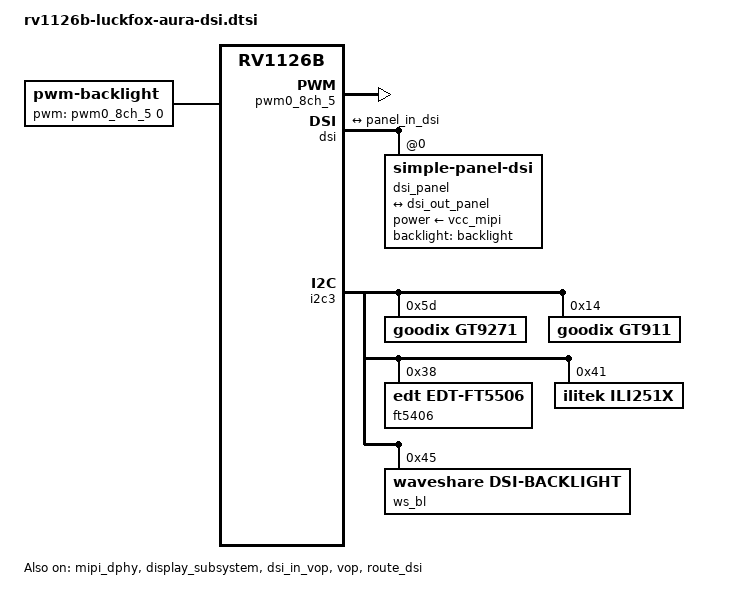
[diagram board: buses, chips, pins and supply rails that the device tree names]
#include <dt-bindings/display/drm_mipi_dsi.h>

/ {
	backlight: backlight {
		compatible = "pwm-backlight";
		pwms = <&pwm0_8ch_5 0 25000 0>;
		brightness-levels = <
			  0  20  20  21  21  22  22  23
			 23  24  24  25  25  26  26  27
			 27  28  28  29  29  30  30  31
			 31  32  32  33  33  34  34  35
			 35  36  36  37  37  38  38  39
			 40  41  42  43  44  45  46  47
			 48  49  50  51  52  53  54  55
			 56  57  58  59  60  61  62  63
			 64  65  66  67  68  69  70  71
			 72  73  74  75  76  77  78  79
			 80  81  82  83  84  85  86  87
			 88  89  90  91  92  93  94  95
			 96  97  98  99 100 101 102 103
			104 105 106 107 108 109 110 111
			112 113 114 115 116 117 118 119
			120 121 122 123 124 125 126 127
			128 129 130 131 132 133 134 135
			136 137 138 139 140 141 142 143
			144 145 146 147 148 149 150 151
			152 153 154 155 156 157 158 159
			160 161 162 163 164 165 166 167
			168 169 170 171 172 173 174 175
			176 177 178 179 180 181 182 183
			184 185 186 187 188 189 190 191
			192 193 194 195 196 197 198 199
			200 201 202 203 204 205 206 207
			208 209 210 211 212 213 214 215
			216 217 218 219 220 221 222 223
			224 225 226 227 228 229 230 231
			232 233 234 235 236 237 238 239
			240 241 242 243 244 245 246 247
			248 249 250 251 252 253 254 255
		>;
		default-brightness-level = <200>;
	};
};

/**********DISPLAY**********/
&mipi_dphy {
	status = "okay";
};

&pwm0_8ch_5 {
	pinctrl-0 = <&pwm0m1_ch5_pins>;
	status = "okay";
};

&display_subsystem {
	status = "okay";
};

&dsi {
	status = "okay";
	dsi_panel: panel@0 {
		status = "okay";
		compatible = "simple-panel-dsi";
		reg = <0>;
		backlight = <&backlight>;
		reset-delay-ms = <10>;
		enable-delay-ms = <10>;
		prepare-delay-ms = <10>;
		unprepare-delay-ms = <10>;
		disable-delay-ms = <60>;
		dsi,flags = <(MIPI_DSI_MODE_VIDEO | MIPI_DSI_MODE_VIDEO_BURST |
			MIPI_DSI_MODE_LPM | MIPI_DSI_MODE_NO_EOT_PACKET)>;
		//dsi,flags = <(MIPI_DSI_MODE_VIDEO | MIPI_DSI_MODE_LPM)>; // 13.3inch dsi lcd
		dsi,format = <MIPI_DSI_FMT_RGB888>;
		dsi,lanes  = <4>;

		// 10inch1
		width-mm = <216>;
		height-mm = <135>;


		panel-init-sequence = [
			15 00 02 E0 00
			15 00 02 E1 93
			15 00 02 E2 65
			15 00 02 E3 F8
			15 00 02 80 03
			15 00 02 E0 01
			15 00 02 00 00
			15 00 02 01 3B
			15 00 02 0C 74
			15 00 02 17 00
			15 00 02 18 AF
			15 00 02 19 00
			15 00 02 1A 00
			15 00 02 1B AF
			15 00 02 1C 00
			15 00 02 35 26
			15 00 02 37 09
			15 00 02 38 04
			15 00 02 39 00
			15 00 02 3A 01
			15 00 02 3C 78
			15 00 02 3D FF
			15 00 02 3E FF
			15 00 02 3F 7F
			15 00 02 40 06
			15 00 02 41 A0
			15 00 02 42 81
			15 00 02 43 14
			15 00 02 44 23
			15 00 02 45 28
			15 00 02 55 02
			15 00 02 57 69
			15 00 02 59 0A
			15 00 02 5A 2A
			15 00 02 5B 17
			15 00 02 5D 7F
			15 00 02 5E 6B
			15 00 02 5F 5C
			15 00 02 60 4F
			15 00 02 61 4D
			15 00 02 62 3F
			15 00 02 63 42
			15 00 02 64 2B
			15 00 02 65 44
			15 00 02 66 43
			15 00 02 67 43
			15 00 02 68 63
			15 00 02 69 52
			15 00 02 6A 5A
			15 00 02 6B 4F
			15 00 02 6C 4E
			15 00 02 6D 20
			15 00 02 6E 0F
			15 00 02 6F 00
			15 00 02 70 7F
			15 00 02 71 6B
			15 00 02 72 5C
			15 00 02 73 4F
			15 00 02 74 4D
			15 00 02 75 3F
			15 00 02 76 42
			15 00 02 77 2B
			15 00 02 78 44
			15 00 02 79 43
			15 00 02 7A 43
			15 00 02 7B 63
			15 00 02 7C 52
			15 00 02 7D 5A
			15 00 02 7E 4F
			15 00 02 7F 4E
			15 00 02 80 20
			15 00 02 81 0F
			15 00 02 82 00
			15 00 02 E0 02
			15 00 02 00 02
			15 00 02 01 02
			15 00 02 02 00
			15 00 02 03 00
			15 00 02 04 1E
			15 00 02 05 1E
			15 00 02 06 1F
			15 00 02 07 1F
			15 00 02 08 1F
			15 00 02 09 17
			15 00 02 0A 17
			15 00 02 0B 37
			15 00 02 0C 37
			15 00 02 0D 47
			15 00 02 0E 47
			15 00 02 0F 45
			15 00 02 10 45
			15 00 02 11 4B
			15 00 02 12 4B
			15 00 02 13 49
			15 00 02 14 49
			15 00 02 15 1F
			15 00 02 16 01
			15 00 02 17 01
			15 00 02 18 00
			15 00 02 19 00
			15 00 02 1A 1E
			15 00 02 1B 1E
			15 00 02 1C 1F
			15 00 02 1D 1F
			15 00 02 1E 1F
			15 00 02 1F 17
			15 00 02 20 17
			15 00 02 21 37
			15 00 02 22 37
			15 00 02 23 46
			15 00 02 24 46
			15 00 02 25 44
			15 00 02 26 44
			15 00 02 27 4A
			15 00 02 28 4A
			15 00 02 29 48
			15 00 02 2A 48
			15 00 02 2B 1F
			15 00 02 2C 01
			15 00 02 2D 01
			15 00 02 2E 00
			15 00 02 2F 00
			15 00 02 30 1F
			15 00 02 31 1F
			15 00 02 32 1E
			15 00 02 33 1E
			15 00 02 34 1F
			15 00 02 35 17
			15 00 02 36 17
			15 00 02 37 37
			15 00 02 38 37
			15 00 02 39 08
			15 00 02 3A 08
			15 00 02 3B 0A
			15 00 02 3C 0A
			15 00 02 3D 04
			15 00 02 3E 04
			15 00 02 3F 06
			15 00 02 40 06
			15 00 02 41 1F
			15 00 02 42 02
			15 00 02 43 02
			15 00 02 44 00
			15 00 02 45 00
			15 00 02 46 1F
			15 00 02 47 1F
			15 00 02 48 1E
			15 00 02 49 1E
			15 00 02 4A 1F
			15 00 02 4B 17
			15 00 02 4C 17
			15 00 02 4D 37
			15 00 02 4E 37
			15 00 02 4F 09
			15 00 02 50 09
			15 00 02 51 0B
			15 00 02 52 0B
			15 00 02 53 05
			15 00 02 54 05
			15 00 02 55 07
			15 00 02 56 07
			15 00 02 57 1F
			15 00 02 58 40
			15 00 02 5B 30
			15 00 02 5C 16
			15 00 02 5D 34
			15 00 02 5E 05
			15 00 02 5F 02
			15 00 02 63 00
			15 00 02 64 6A
			15 00 02 67 73
			15 00 02 68 1D
			15 00 02 69 08
			15 00 02 6A 6A
			15 00 02 6B 08
			15 00 02 6C 00
			15 00 02 6D 00
			15 00 02 6E 00
			15 00 02 6F 88
			15 00 02 75 FF
			15 00 02 77 DD
			15 00 02 78 3F
			15 00 02 79 15
			15 00 02 7A 17
			15 00 02 7D 14
			15 00 02 7E 82
			15 00 02 E0 04
			15 00 02 00 0E
			15 00 02 02 B3
			15 00 02 09 61
			15 00 02 0E 48
			15 00 02 E0 00
			15 00 02 E6 02
			15 00 02 E7 0C
			05 78 01 11
			05 14 01 29
		];

		panel-exit-sequence = [
			05 00 01 28
			05 00 01 10
		];

		// 9inch-b / 10inch-b
		/*
		panel-init-sequence = [
			15 00 02 E0 00
			15 00 02 E1 93
			15 00 02 E2 65
			15 00 02 E3 F8
			15 00 02 80 01
			15 00 02 E0 01
			15 00 02 00 00
			15 00 02 01 3D
			15 00 02 03 10
			15 00 02 04 3F
			15 00 02 17 00
			15 00 02 18 BF
			15 00 02 19 01
			15 00 02 1A 00
			15 00 02 1B BF
			15 00 02 1C 01
			15 00 02 24 FE
			15 00 02 37 19
			15 00 02 38 05
			15 00 02 39 08
			15 00 02 3A 1F
			15 00 02 3C 74
			15 00 02 3D FF
			15 00 02 3E FF
			15 00 02 3F FF
			15 00 02 40 04
			15 00 02 41 A0
			15 00 02 42 7E
			15 00 02 43 1A
			15 00 02 44 0F
			15 00 02 45 24
			15 00 02 55 02
			15 00 02 57 A9
			15 00 02 59 0A
			15 00 02 5A 38
			15 00 02 5B 1A
			15 00 02 5D 7F
			15 00 02 5E 65
			15 00 02 5F 52
			15 00 02 60 44
			15 00 02 61 3D
			15 00 02 62 2D
			15 00 02 63 2D
			15 00 02 64 14
			15 00 02 65 28
			15 00 02 66 25
			15 00 02 67 23
			15 00 02 68 3F
			15 00 02 69 2D
			15 00 02 6A 34
			15 00 02 6B 27
			15 00 02 6C 24
			15 00 02 6D 18
			15 00 02 6E 0A
			15 00 02 6F 00
			15 00 02 70 7F
			15 00 02 71 65
			15 00 02 72 52
			15 00 02 73 44
			15 00 02 74 3D
			15 00 02 75 2D
			15 00 02 76 2D
			15 00 02 77 14
			15 00 02 78 28
			15 00 02 79 25
			15 00 02 7A 23
			15 00 02 7B 3F
			15 00 02 7C 2D
			15 00 02 7D 34
			15 00 02 7E 27
			15 00 02 7F 24
			15 00 02 80 18
			15 00 02 81 0A
			15 00 02 82 00
			15 00 02 E0 02
			15 00 02 00 51
			15 00 02 01 55
			15 00 02 02 50
			15 00 02 03 51
			15 00 02 04 5F
			15 00 02 05 77
			15 00 02 06 57
			15 00 02 07 5F
			15 00 02 08 47
			15 00 02 09 46
			15 00 02 0A 45
			15 00 02 0B 44
			15 00 02 0C 4B
			15 00 02 0D 4A
			15 00 02 0E 49
			15 00 02 0F 48
			15 00 02 10 40
			15 00 02 11 41
			15 00 02 12 5F
			15 00 02 13 5F
			15 00 02 14 5F
			15 00 02 15 5F
			15 00 02 16 51
			15 00 02 17 55
			15 00 02 18 50
			15 00 02 19 51
			15 00 02 1A 5F
			15 00 02 1B 77
			15 00 02 1C 57
			15 00 02 1D 5F
			15 00 02 1E 47
			15 00 02 1F 46
			15 00 02 20 45
			15 00 02 21 44
			15 00 02 22 4B
			15 00 02 23 4A
			15 00 02 24 49
			15 00 02 25 48
			15 00 02 26 40
			15 00 02 27 41
			15 00 02 28 5F
			15 00 02 29 5F
			15 00 02 2A 5F
			15 00 02 2B 5F
			15 00 02 2C 11
			15 00 02 2D 1F
			15 00 02 2E 01
			15 00 02 2F 00
			15 00 02 30 15
			15 00 02 31 17
			15 00 02 32 17
			15 00 02 33 1F
			15 00 02 34 08
			15 00 02 35 09
			15 00 02 36 0A
			15 00 02 37 0B
			15 00 02 38 04
			15 00 02 39 05
			15 00 02 3A 06
			15 00 02 3B 07
			15 00 02 3C 11
			15 00 02 3D 10
			15 00 02 3E 1F
			15 00 02 3F 1F
			15 00 02 40 1F
			15 00 02 41 1F
			15 00 02 42 11
			15 00 02 43 1F
			15 00 02 44 01
			15 00 02 45 00
			15 00 02 46 15
			15 00 02 47 17
			15 00 02 48 17
			15 00 02 49 1F
			15 00 02 4A 08
			15 00 02 4B 09
			15 00 02 4C 0A
			15 00 02 4D 0B
			15 00 02 4E 04
			15 00 02 4F 05
			15 00 02 50 06
			15 00 02 51 07
			15 00 02 52 11
			15 00 02 53 10
			15 00 02 54 1F
			15 00 02 55 1F
			15 00 02 56 1F
			15 00 02 57 1F
			15 00 02 58 40
			15 00 02 5B 10
			15 00 02 5C 07
			15 00 02 5D 40
			15 00 02 5E 01
			15 00 02 5F 02
			15 00 02 60 40
			15 00 02 61 01
			15 00 02 62 02
			15 00 02 63 06
			15 00 02 64 66
			15 00 02 65 55
			15 00 02 66 13
			15 00 02 67 73
			15 00 02 68 09
			15 00 02 69 06
			15 00 02 6A 66
			15 00 02 6B 08
			15 00 02 6C 00
			15 00 02 6D 04
			15 00 02 6E 04
			15 00 02 6F 88
			15 00 02 75 E3
			15 00 02 76 00
			15 00 02 77 D5
			15 00 02 78 2A
			15 00 02 79 21
			15 00 02 7A 00
			15 00 02 7D 06
			15 00 02 7E 66
			15 00 02 E0 04
			15 00 02 00 0E
			15 00 02 02 B3
			15 00 02 09 60
			15 00 02 0E 48
			15 00 02 37 58
			15 00 02 2B 0F
			15 00 02 E0 05
			15 00 02 15 1D
			15 00 02 E0 00
			05 78 01 11
			05 05 01 29
			05 00 01 35
		];
		*/

		// 7inch
		/*
		panel-init-sequence = [
			39 00 04 FF 98 81 03
			15 00 02 01 00
			15 00 02 02 00
			15 00 02 03 73
			15 00 02 04 00
			15 00 02 05 00
			15 00 02 06 0A
			15 00 02 07 00
			15 00 02 08 00
			15 00 02 09 61
			15 00 02 0A 00
			15 00 02 0B 00
			15 00 02 0C 01
			15 00 02 0D 00
			15 00 02 0E 00
			15 00 02 0F 61
			15 00 02 10 61
			15 00 02 11 00
			15 00 02 12 00
			15 00 02 13 00
			15 00 02 14 00
			15 00 02 15 00
			15 00 02 16 00
			15 00 02 17 00
			15 00 02 18 00
			15 00 02 19 00
			15 00 02 1A 00
			15 00 02 1B 00
			15 00 02 1C 00
			15 00 02 1D 00
			15 00 02 1E 40
			15 00 02 1F 80
			15 00 02 20 06
			15 00 02 21 01
			15 00 02 22 00
			15 00 02 23 00
			15 00 02 24 00
			15 00 02 25 00
			15 00 02 26 00
			15 00 02 27 00
			15 00 02 28 33
			15 00 02 29 03
			15 00 02 2A 00
			15 00 02 2B 00
			15 00 02 2C 00
			15 00 02 2D 00
			15 00 02 2E 00
			15 00 02 2F 00
			15 00 02 30 00
			15 00 02 31 00
			15 00 02 32 00
			15 00 02 33 00
			15 00 02 34 04
			15 00 02 35 00
			15 00 02 36 00
			15 00 02 37 00
			15 00 02 38 3C
			15 00 02 39 00
			15 00 02 3A 00
			15 00 02 3B 00
			15 00 02 3C 00
			15 00 02 3D 00
			15 00 02 3E 00
			15 00 02 3F 00
			15 00 02 40 00
			15 00 02 41 00
			15 00 02 42 00
			15 00 02 43 00
			15 00 02 44 00
			15 00 02 50 10
			15 00 02 51 32
			15 00 02 52 54
			15 00 02 53 76
			15 00 02 54 98
			15 00 02 55 BA
			15 00 02 56 10
			15 00 02 57 32
			15 00 02 58 54
			15 00 02 59 76
			15 00 02 5A 98
			15 00 02 5B BA
			15 00 02 5C DC
			15 00 02 5D FE
			15 00 02 5E 00
			15 00 02 5F 0E
			15 00 02 60 0F
			15 00 02 61 0C
			15 00 02 62 0D
			15 00 02 63 06
			15 00 02 64 07
			15 00 02 65 02
			15 00 02 66 02
			15 00 02 67 02
			15 00 02 68 02
			15 00 02 69 01
			15 00 02 6A 00
			15 00 02 6B 02
			15 00 02 6C 15
			15 00 02 6D 14
			15 00 02 6E 02
			15 00 02 6F 02
			15 00 02 70 02
			15 00 02 71 02
			15 00 02 72 02
			15 00 02 73 02
			15 00 02 74 02
			15 00 02 75 0E
			15 00 02 76 0F
			15 00 02 77 0C
			15 00 02 78 0D
			15 00 02 79 06
			15 00 02 7A 07
			15 00 02 7B 02
			15 00 02 7C 02
			15 00 02 7D 02
			15 00 02 7E 02
			15 00 02 7F 01
			15 00 02 80 00
			15 00 02 81 02
			15 00 02 82 14
			15 00 02 83 15
			15 00 02 84 02
			15 00 02 85 02
			15 00 02 86 02
			15 00 02 87 02
			15 00 02 88 02
			15 00 02 89 02
			15 00 02 8A 02
			39 00 04 FF 98 81 04
			15 00 02 6C 15
			15 00 02 6E 2A
			15 00 02 6F 33
			15 00 02 3B 98
			15 00 02 3A 94
			15 00 02 8D 14
			15 00 02 87 BA
			15 00 02 26 76
			15 00 02 B2 D1
			15 00 02 B5 06
			15 00 02 38 01
			15 00 02 39 00
			39 00 04 FF 98 81 01
			15 00 02 22 0A
			15 00 02 31 00
			15 00 02 53 7d
			15 00 02 55 8F
			15 00 02 40 33
			15 00 02 50 96
			15 00 02 51 96
			15 00 02 60 23
			15 00 02 A0 08
			15 00 02 A1 1D
			15 00 02 A2 2A
			15 00 02 A3 10
			15 00 02 A4 15
			15 00 02 A5 28
			15 00 02 A6 1C
			15 00 02 A7 1D
			15 00 02 A8 7E
			15 00 02 A9 1D
			15 00 02 AA 29
			15 00 02 AB 6B
			15 00 02 AC 1A
			15 00 02 AD 18
			15 00 02 AE 4B
			15 00 02 AF 20
			15 00 02 B0 27
			15 00 02 B1 50
			15 00 02 B2 64
			15 00 02 B3 39
			15 00 02 C0 08
			15 00 02 C1 1D
			15 00 02 C2 2A
			15 00 02 C3 10
			15 00 02 C4 15
			15 00 02 C5 28
			15 00 02 C6 1C
			15 00 02 C7 1D
			15 00 02 C8 7E
			15 00 02 C9 1D
			15 00 02 CA 29
			15 00 02 CB 6B
			15 00 02 CC 1A
			15 00 02 CD 18
			15 00 02 CE 4B
			15 00 02 CF 20
			15 00 02 D0 27
			15 00 02 D1 50
			15 00 02 D2 64
			15 00 02 D3 39
			39 00 04 FF 98 81 00
			15 00 02 35 00
			05 78 01 11
			05 14 01 29
		];

		panel-exit-sequence = [
			05 00 01 28
			05 00 01 10
		];
		*/

		// 5inch
		/*
		panel-init-sequence = [
			39 00 04 B9 FF 83 94
			39 00 0B B1 48 0A 6A 09 33 54 71 71 2E 45
			39 00 07 BA 61 03 68 6B B2 C0
			39 00 07 B2 00 80 64 0C 06 2F
			39 00 16 B4 1C 78 1C 78 1C 78 01 0C 86
				 75 00 3F 1C 78 1C 78 1C 78 01
				 0C 86
			39 00 22 D3 00 00 00 00 00 00 08 08 32
				 10 05 00 05 32 13 C1 00 01 32
				 10 08 00 00 37 03 07 07 37 05
				 05 37 0C 40
			39 00 2D D5 18 18 18 18 22 23 20 21 04
				 05 06 07 00 01 02 03 18 18 18
				 18 18 18 18 18 18 18 18 18 18
				 18 18 18 18 18 18 18 18 18 18
				 18 19 19 19 19
			39 00 2D D6 18 18 19 19 21 20 23 22 03
				 02 01 00 07 06 05 04 18 18 18
				 18 18 18 18 18 18 18 18 18 18
				 18 18 18 18 18 18 18 18 18 18
				 18 19 19 18 18
			39 00 3B E0 07 08 09 0D 10 14 16 13 24
				 36 48 4A 58 6F 76 80 97 A5 A8
				 B5 C6 62 63 68 6F 72 78 7F 7F
				 00 02 08 0D 0C 0E 0F 10 24 36
				 48 4A 58 6F 78 82 99 A4 A0 B1
				 C0 5E 5E 64 6B 6C 73 7F 7F
			15 00 02 CC 08
			39 00 03 C0 1F 73
			39 00 03 B6 6B 6B
			15 00 02 D4 02
			15 00 02 BD 01
			15 00 02 B1 00
			15 00 02 BD 00
			15 00 02 13 01
			15 00 02 20 01
			15 00 02 21 00
			15 00 02 36 08
			39 00 08 BF 40 81 50 00 1A FC 01
			05 C8 01 11
			39 00 0D B2 00 80 64 0C 06 2F 00 00 00 00 C0 18
			05 50 01 29
		];
		*/

		// for 800x480
		/*
		panel-init-sequence = [
			29 00 06 10 02 03 00 00 00
			29 00 06 64 01 0c 00 00 00
			29 00 06 68 01 0c 00 00 00
			29 00 06 44 01 00 00 00 49
			29 00 06 48 01 00 00 00 00
			29 00 06 14 01 15 00 00 00
			29 00 06 50 04 60 00 00 00
			29 00 06 20 04 52 01 10 00
			29 00 06 24 04 14 00 1a 00
			29 00 06 28 04 20 03 69 00
			29 00 06 2c 04 02 00 15 00
			29 00 06 30 04 e0 01 07 00
			29 00 06 34 04 01 00 00 00
			29 00 06 64 04 0f 04 00 00
			29 00 06 01 01 01 00 00 00
			29 00 06 02 02 01 00 00 00
		];
		*/

		disp_timings0: display-timings {
			native-mode = <&dsi_timing0>;

			// 10inch1
			dsi_timing0: timing0 {
				clock-frequency = <70000000>;
				hactive = <800>;
				vactive = <1280>;

				vsync-len = <4>;
				vback-porch = <20>;
				vfront-porch = <20>;

				hsync-len = <20>;
				hback-porch = <20>;
				hfront-porch = <40>;


				hsync-active = <0>;
				vsync-active = <0>;
				de-active = <0>;
				pixelclk-active = <0>;
			};

			// 7inch
			dsi_timing1: timing1 {
				clock-frequency = <84000000>;
				hactive = <720>;
				vactive = <1280>;
				vsync-len = <30>;
				vback-porch = <20>;
				vfront-porch = <2>;
				hsync-len = <50>;
				hback-porch = <239>;
				hfront-porch = <33>;
				hsync-active = <0>;
				vsync-active = <0>;
				de-active = <0>;
				pixelclk-active = <0>;
			};

			// 9inch-b / 10inch1-b
			dsi_timing3: timing3 {
				clock-frequency = <70000000>;//60fps
				hactive = <720>;
				vactive = <1280>;
				vsync-len = <4>;
				vback-porch = <12>;
				vfront-porch = <26>;
				hsync-len = <50>;
				hback-porch = <50>;
				hfront-porch = <50>;
				vsync-active = <0>;
				hsync-active = <0>;
				de-active = <0>;
				pixelclk-active = <0>;
			};

			// 5inch
			dsi_timing2: timing2 {
				clock-frequency = <63000000>;
				hactive = <720>;
				vactive = <1280>;
				vsync-len = <4>;
				vback-porch = <10>;
				vfront-porch = <30>;
				hsync-len = <20>;
				hback-porch = <20>;
				hfront-porch = <40>;
				hsync-active = <0>;
				vsync-active = <0>;
				de-active = <0>;
				pixelclk-active = <0>;
			};

			/* 2.8inch 480x640
			 * https://www.waveshare.com/product/raspberry-pi/displays/2.8inch-dsi-lcd.htm
			 */
			ws_2inch8: ws-2inch8 {
				clock-frequency = <50000000>;

				hactive = <480>;
				vactive = <640>;

				vsync-len = <150>;
				vback-porch = <50>;
				vfront-porch = <150>;

				hsync-len = <150>;
				hback-porch = <150>;
				hfront-porch = <50>;

				vsync-active = <0>;
				hsync-active = <0>;
				de-active = <0>;
				pixelclk-active = <0>;
			};

			/* 3.4inch 800x800 Round
			 * https://www.waveshare.com/product/displays/lcd-oled/3.4inch-dsi-lcd-c.htm
			 */
			ws_3inch4: ws-3inch4 {
				clock-frequency = <50000000>;

				hactive = <800>;
				vactive = <800>;

				vsync-len = <16>;
				vback-porch = <4>;
				vfront-porch = <8>;

				hsync-len = <120>;
				hback-porch = <32>;
				hfront-porch = <6>;

				vsync-active = <0>;
				hsync-active = <0>;
				de-active = <0>;
				pixelclk-active = <0>;
			};

			/* 4.0inch 480x800
			 * https://www.waveshare.com/product/raspberry-pi/displays/4inch-dsi-lcd.htm
			 */
			ws_4inch: ws-4inch {
				clock-frequency = <50000000>;

				hactive = <480>;
				vactive = <800>;

				vsync-len = <20>;
				vback-porch = <100>;
				vfront-porch = <20>;

				hsync-len = <150>;
				hback-porch = <150>;
				hfront-porch = <100>;

				vsync-active = <0>;
				hsync-active = <0>;
				de-active = <0>;
				pixelclk-active = <0>;
			};

			/* 7.0inch C / 5.0inch C 1024x600
			 * https://www.waveshare.com/product/raspberry-pi/displays/lcd-oled/7inch-dsi-lcd-c-with-case-a.htm
			 * https://www.waveshare.com/product/raspberry-pi/displays/lcd-oled/5inch-dsi-lcd-c.htm
			 */
			ws_7inch_5inch_c: ws-7inch-5inch-c {
				clock-frequency = <50000000>;

				hactive = <1024>;
				vactive = <600>;

				vsync-len = <10>;
				vback-porch = <10>;
				vfront-porch = <10>;

				hsync-len = <100>;
				hback-porch = <100>;
				hfront-porch = <100>;

				vsync-active = <0>;
				hsync-active = <0>;
				de-active = <0>;
				pixelclk-active = <0>;
			};

			/* 7.9inch 400x1280
			 * https://www.waveshare.com/product/raspberry-pi/displays/7.9inch-dsi-lcd.htm
			 */
			ws_7inch9: ws-7inch9 {
				clock-frequency = <50000000>;

				hactive = <400>;
				vactive = <1280>;

				vsync-len = <20>;
				vback-porch = <10>;
				vfront-porch = <20>;

				hsync-len = <40>;
				hback-porch = <40>;
				hfront-porch = <30>;

				vsync-active = <0>;
				hsync-active = <0>;
				de-active = <0>;
				pixelclk-active = <0>;
			};

			/* 10.1inch / 8.0inch 1280x800
			 * https://www.waveshare.com/product/raspberry-pi/displays/10.1inch-dsi-lcd-c.htm
			 * https://www.waveshare.com/product/raspberry-pi/displays/8inch-dsi-lcd-c.htm
			 */
			ws_8inch_10inch1: ws-8inch-10inch1 {
				clock-frequency = <83333000>;

				hactive = <1280>;
				vactive = <800>;

				vsync-len = <40>;
				vback-porch = <48>;
				vfront-porch = <40>;

				hsync-len = <40>;
				hback-porch = <156>;
				hfront-porch = <20>;

				vsync-active = <0>;
				hsync-active = <0>;
				de-active = <0>;
				pixelclk-active = <0>;
			};

			/* 11.9inch 320x1480
			 * https://www.waveshare.com/product/raspberry-pi/displays/11.9inch-dsi-lcd.htm
			 */
			ws_11inch9: ws-11inch9 {
				clock-frequency = <50000000>;

				hactive = <320>;
				vactive = <1480>;

				vsync-len = <60>;
				vback-porch = <60>;
				vfront-porch = <60>;

				hsync-len = <60>;
				hback-porch = <60>;
				hfront-porch = <60>;

				vsync-active = <0>;
				hsync-active = <0>;
				de-active = <0>;
				pixelclk-active = <0>;
			};

			/* 4inch C 720x720
			 * https://www.waveshare.com/product/raspberry-pi/displays/4inch-dsi-lcd-c.htm
			 */
			ws_4inch_c: ws-4inch-c {
				clock-frequency = <50000000>;

				hactive = <720>;
				vactive = <720>;

				vsync-len = <16>;
				vback-porch = <4>;
				vfront-porch = <8>;

				hsync-len = <120>;
				hback-porch = <32>;
				hfront-porch = <200>;

				vsync-active = <0>;
				hsync-active = <0>;
				de-active = <0>;
				pixelclk-active = <0>;
			};

			/* 5.0inch D 720x1280
			 * https://www.waveshare.com/5inch-dsi-lcd-d.htm
			 */
			ws_5inch_d: ws-5inch-d {
				clock-frequency = <83333000>;

				hactive = <720>;
				vactive = <1280>;

				vsync-len = <20>;
				vback-porch = <20>;
				vfront-porch = <20>;

				hsync-len = <100>;
				hback-porch = <100>;
				hfront-porch = <80>;

				vsync-active = <0>;
				hsync-active = <0>;
				de-active = <0>;
				pixelclk-active = <0>;
			};

			/* 6.25inch 720x1560
			 * https://www.waveshare.com/6.25inch-dsi-lcd.htm
			 */
			ws_6inch25: ws-6inch25 {
				clock-frequency = <83333000>;

				hactive = <720>;
				vactive = <1560>;

				vsync-len = <20>;
				vback-porch = <20>;
				vfront-porch = <20>;

				hsync-len = <50>;
				hback-porch = <50>;
				hfront-porch = <50>;

				vsync-active = <0>;
				hsync-active = <0>;
				de-active = <0>;
				pixelclk-active = <0>;
			};

			/* 8.8inch 480x1920
			 * https://www.waveshare.com/8.8inch-dsi-lcd.htm
			 */
			ws_8inch8: ws-8inch8 {
				clock-frequency = <83333000>;

				hactive = <480>;
				vactive = <1920>;

				vsync-len = <20>;
				vback-porch = <20>;
				vfront-porch = <20>;

				hsync-len = <50>;
				hback-porch = <50>;
				hfront-porch = <50>;

				vsync-active = <0>;
				hsync-active = <0>;
				de-active = <0>;
				pixelclk-active = <0>;
			};

			/* 7.0inch H 1280x720
			 * https://www.waveshare.com/7inch-dsi-lcd-h.htm
			 */
			ws_7inch_h: ws-7inch-h {
				clock-frequency = <83333000>;

				hactive = <1280>;
				vactive = <720>;

				vsync-len = <64>;
				vback-porch = <64>;
				vfront-porch = <64>;

				hsync-len = <64>;
				hback-porch = <64>;
				hfront-porch = <64>;

				vsync-active = <0>;
				hsync-active = <0>;
				de-active = <0>;
				pixelclk-active = <0>;
			};


			/* 13.3inch 1920x1080
			 * https://www.waveshare.com/13.3inch-dsi-lcd.htm
			 */
			ws_13inch3: ws-13inch3 {
				clock-frequency = <148500000>;

				hactive = <1920>;
				vactive = <1080>;

				vsync-len = <36>;
				vback-porch = <5>;
				vfront-porch = <4>;

				hsync-len = <88>;
				hback-porch = <44>;
				hfront-porch = <148>;

				vsync-active = <0>;
				hsync-active = <0>;
				de-active = <0>;
				pixelclk-active = <0>;
			};

			/* 800 x 480
			 * https://www.waveshare.com/4.3inch-dsi-lcd.htm
			 * https://www.waveshare.com/5inch-dsi-lcd-b.htm
			 * https://www.waveshare.com/7inch-dsi-lcd-with-cam.htm
			 * https://www.waveshare.com/8inch-dsi-lcd.htm
			 */
			ws_800_480: ws-800-480 {
				clock-frequency = <30000000>;

				hactive = <800>;
				vactive = <480>;

				vsync-len = <22>;
				vback-porch = <2>;
				vfront-porch = <7>;

				hsync-len = <45>;
				hback-porch = <2>;
				hfront-porch = <131>;

				vsync-active = <0>;
				hsync-active = <0>;
				de-active = <0>;
				pixelclk-active =<0>;
			};


		};

		ports {
			#address-cells = <1>;
			#size-cells = <0>;

			port@0 {
				reg = <0>;
				panel_in_dsi: endpoint {
					remote-endpoint = <&dsi_out_panel>;
				};
			};
		};
	};

	ports {
		#address-cells = <1>;
		#size-cells = <0>;

		port@1 {
			reg = <1>;
			dsi_out_panel: endpoint {
				remote-endpoint = <&panel_in_dsi>;
			};
		};
	};
};

&dsi_in_vop {
	status = "okay";
};

&dsi_panel {
	power-supply = <&vcc_mipi>;
};

&vop {
	status = "okay";
};

&vop_mmu {
	status = "okay";
};

&route_dsi {
	status = "okay";
};

&i2c3 {
	status = "okay";
	pinctrl-names = "default";
	pinctrl-0 = <&i2c3m1_pins>;

	gt9271: gt9271@5d {
		status = "okay";
		compatible = "goodix,gt9271";
		reg = <0x5d>;
		pinctrl-names = "default";
	};

	gt911: gt911@14 {
		status = "okay";
		compatible = "goodix,gt911";
		reg = <0x14>;

		/*
		// 2.8inch
		touchscreen-size-x = <480>;
		touchscreen-size-y = <640>;
		touchscreen-inverted-y;
		touchscreen-swapped-x-y;
		*/

		/*
		// 3.4inch
		touchscreen-size-x = <800>;
		touchscreen-size-y = <800>;
		*/

		/*
		// 4.0inch
		touchscreen-size-x = <800>;
		touchscreen-size-y = <480>;
		touchscreen-inverted-x;
		touchscreen-swapped-x-y;
		*/

		/*
		// 7.0inch C / 5.0inch C
		touchscreen-size-x = <800>;
		touchscreen-size-y = <480>;
		*/

		/*
		// 7inch9
		touchscreen-size-x = <4096>;
		touchscreen-size-y = <4096>;
		touchscreen-inverted-x;
		touchscreen-swapped-x-y;
		*/

		/*
		// 10.1inch / 8.0inch
		touchscreen-size-x = <800>;
		touchscreen-size-y = <1280>;
		touchscreen-inverted-x;
		touchscreen-swapped-x-y;
		*/

		/*
		// 11.9inch
		touchscreen-inverted-x;
		touchscreen-swapped-x-y;
		*/

		/*
		// 4inch C
		touchscreen-size-x = <720>;
		touchscreen-size-y = <720>;
		*/

		/*
		// 5inch D
		touchscreen-inverted-x;
		touchscreen-inverted-y;
		*/

		/*
		// 6inch25
		touchscreen-inverted-x;
		touchscreen-inverted-y;
		*/

		/*
		// 8.8inch
		*/

		/*
		// 7inch H
		touchscreen-inverted-x;
		touchscreen-swapped-x-y;
		*/

	};

	ft5406: ft5406@38 {
		status = "okay";
		compatible = "edt,edt-ft5506";
		reg = <0x38>;

		touchscreen-inverted-x;
		touchscreen-inverted-y;
		//touchscreen-swapped-x-y;

		touchscreen-size-x = <800>;
		touchscreen-size-y = <480>;
	};

	ilitek: ilitek@41 {
		status = "okay";
		compatible = "ilitek,ili251x";
		reg = <0x41>;
	};

	ws_bl: ws-bl@45 {
		status = "okay";
		compatible = "waveshare,dsi-backlight";
		reg = <0x45>;
		default-brightness-level = <200>;
		max-brightness-level = <255>;
		min-brightness-level = <5>;
	};

};
